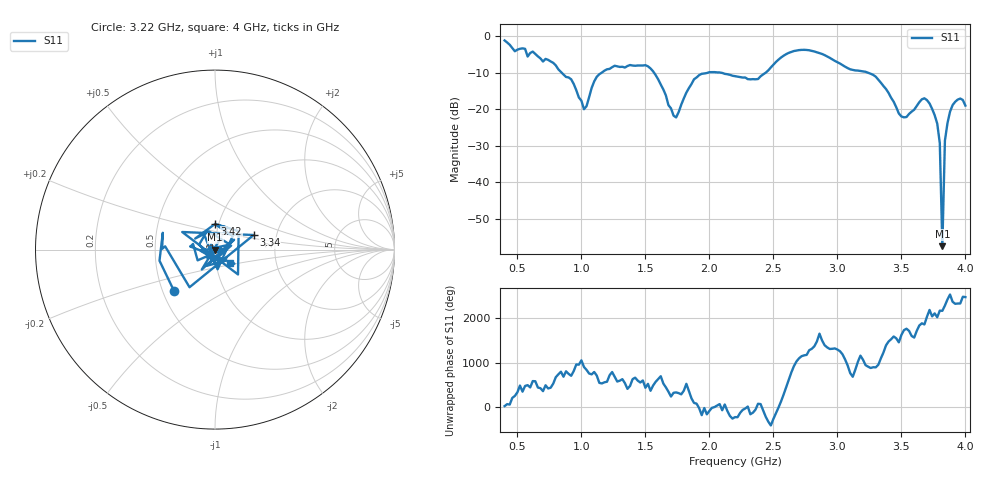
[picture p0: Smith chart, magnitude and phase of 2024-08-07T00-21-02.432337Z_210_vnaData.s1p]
!Created with skrf (http://scikit-rf.org).
# Hz S RI R 50.0
!freq ReS11 ImS11
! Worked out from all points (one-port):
!   181 points, 400 MHz to 4 GHz, reference 50 ohm
!   lowest |S11| = -57.4 dB at 3.82 GHz (marker M1), VSWR 1.00, Z = 50.1 + j0.0184 ohm
!   |S11| at or under -10 dB: 1.567 GHz to 1.989 GHz (421.5 MHz wide, 23.7 % of centre); 2.088 GHz to 2.44 GHz (351.6 MHz wide, 15.5 % of centre); 3.238 GHz to end of sweep (the widest 3 of 4)
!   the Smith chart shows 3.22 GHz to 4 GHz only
!   S11 on the Smith chart (normalised r, x): 3.22 GHz: 0.57, -0.30; 3.34 GHz: 1.52, +0.26; 3.42 GHz: 0.96, +0.28; 4 GHz: 1.16, -0.18
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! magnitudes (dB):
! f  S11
! 400 MHz  -1.2
! 860 MHz  -10.5
! 920 MHz  -11.8
! 1.02 GHz  -20.0
! 1.12 GHz  -11.1
! 1.3 GHz  -8.4
! 1.52 GHz  -8.3
! 1.6 GHz  -11.8
! 1.72 GHz  -21.7
! 1.76 GHz  -20.8
! 1.92 GHz  -10.7
! 2.2 GHz  -11.0
! 2.38 GHz  -11.7
! 2.66 GHz  -4.1
! 3.1 GHz  -9.1
! 3.22 GHz  -9.8
! 3.34 GHz  -12.8
! 3.42 GHz  -16.9
! 3.5 GHz  -22.0
! 3.56 GHz  -21.3
! 3.68 GHz  -17.0
! 3.78 GHz  -23.9
! 3.8 GHz  -29.3
! 3.82 GHz  -57.4
! 3.84 GHz  -28.6
! 3.86 GHz  -23.8
! 3.92 GHz  -18.0
! 4 GHz  -19.0
